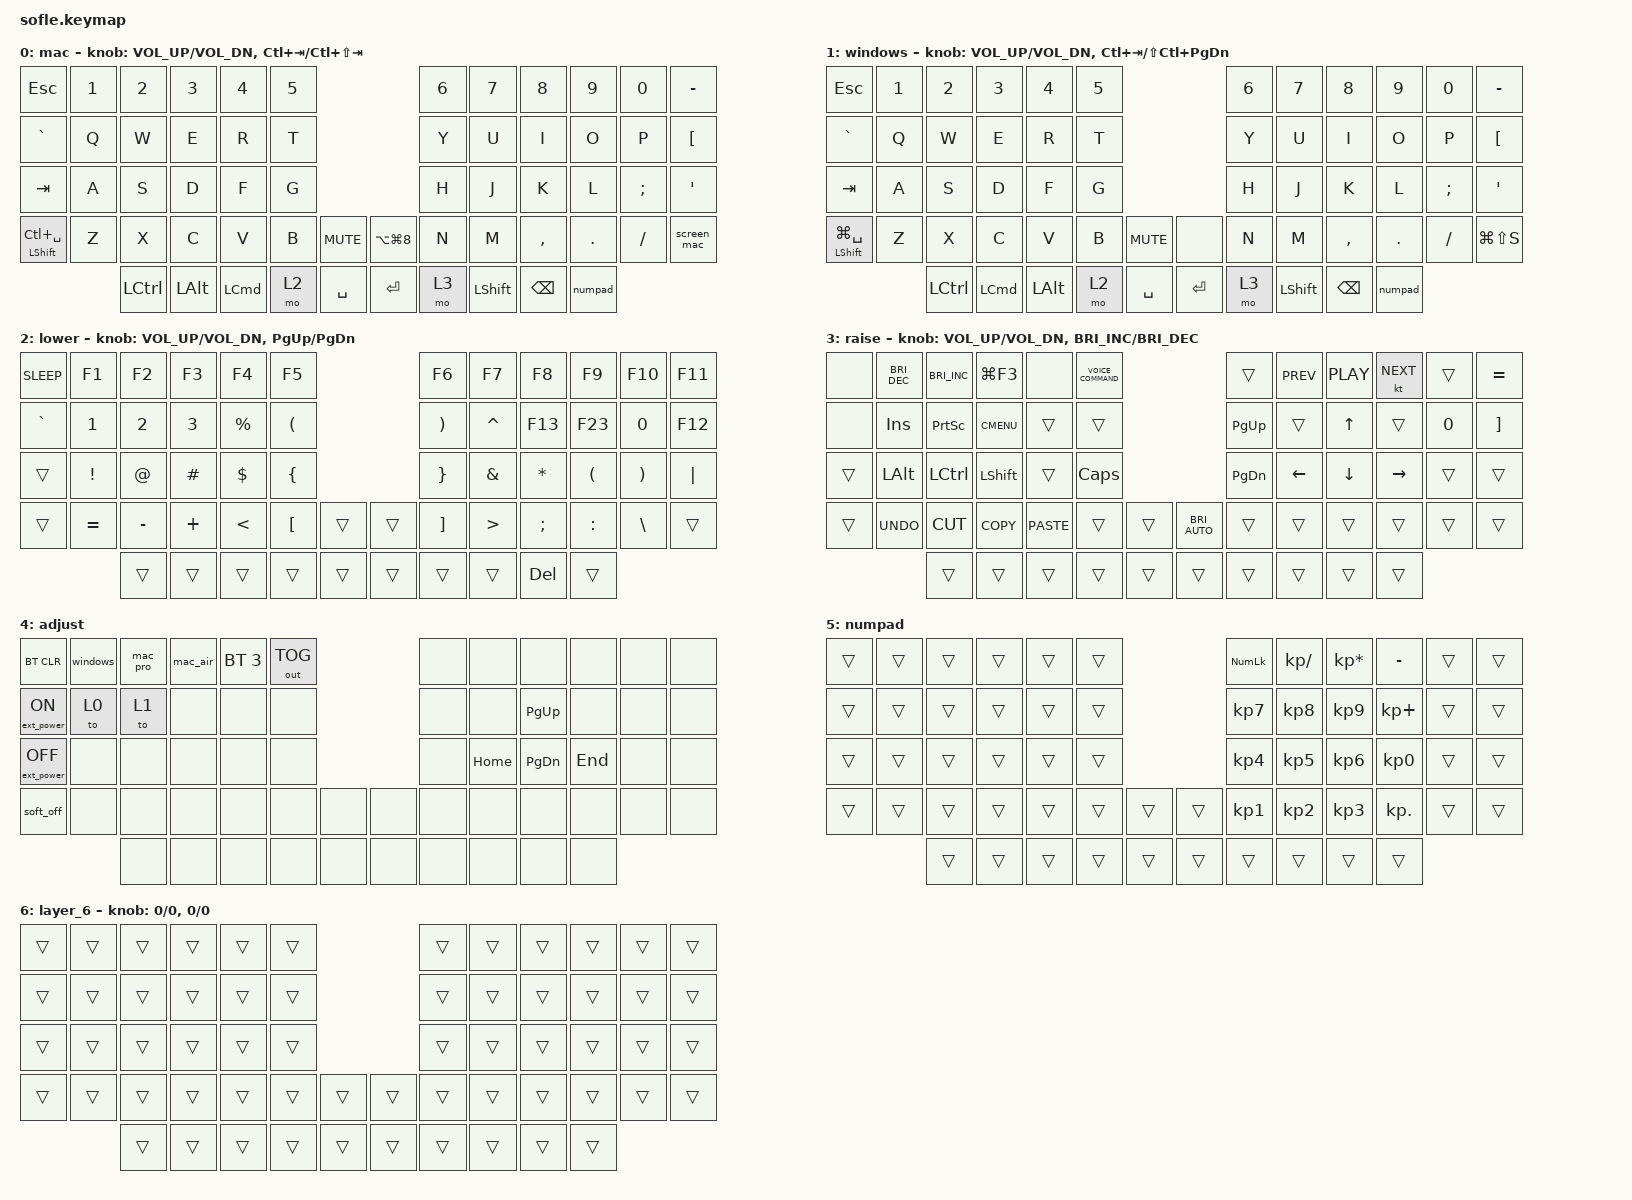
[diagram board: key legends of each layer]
/*
 * Copyright (c) 2020 The ZMK Contributors
 *
 * SPDX-License-Identifier: MIT
 */

#include <behaviors.dtsi>
#include <dt-bindings/zmk/bt.h>
#include <dt-bindings/zmk/ext_power.h>
#include <dt-bindings/zmk/keys.h>
#include <dt-bindings/zmk/outputs.h>

#define BASE 0
#define LOWER 1
#define RAISE 2
#define ADJUST 3

/ {
    // Activate ADJUST layer by pressing raise and lower

    conditional_layers {
        compatible = "zmk,conditional-layers";

        adjust_layer {
            if-layers = <2 3>;
            then-layer = <4>;
        };
    };

    behaviors {
        lang_shift: lang_shift {
            compatible = "zmk,behavior-hold-tap";
            label = "LANG_SHIFT";
            bindings = <&kp>, <&kp>;

            #binding-cells = <2>;
            tapping-term-ms = <700>;
        };

        numpad: numpad {
            compatible = "zmk,behavior-tap-dance";
            label = "NUMPAD";
            #binding-cells = <0>;
            bindings = <&none>, <&tog 5>;
        };

        screen_mac: screen_mac {
            compatible = "zmk,behavior-tap-dance";
            label = "SCREEN_MAC";
            #binding-cells = <0>;
            bindings = <&kp LS(LG(NUMBER_4))>, <&kp LG(LC(LS(NUMBER_4)))>;
        };
    };

    combos {
        compatible = "zmk,combos";

        paste {
            bindings = <&kp LC(V)>;
            key-positions = <52 40>;
            layers = <1>;
        };

        copy {
            bindings = <&kp LC(C)>;
            key-positions = <52 39>;
            layers = <1>;
        };

        cut {
            bindings = <&kp LC(X)>;
            key-positions = <52 38>;
            layers = <1>;
        };

        undo {
            bindings = <&kp LC(Z)>;
            key-positions = <52 37>;
            layers = <1>;
        };

        save {
            bindings = <&kp LC(S)>;
            key-positions = <52 26>;
            layers = <1>;
        };

        All {
            bindings = <&kp LC(S)>;
            key-positions = <52 25>;
            layers = <1>;
        };

        find {
            bindings = <&kp LC(F)>;
            key-positions = <52 28>;
            layers = <1>;
        };
    };

    macros {
        windows: new_macro {
            compatible = "zmk,behavior-macro";
            #binding-cells = <0>;
            bindings = <&bt BT_SEL 0 &to 1>;
            label = "NEW_MACRO";
        };

        mac_air: MacBookAir {
            compatible = "zmk,behavior-macro";
            #binding-cells = <0>;
            bindings = <&bt BT_SEL 2 &to 0>;
            label = "MACBOOKAIR";
        };

        mac_pro: mac_pro {
            compatible = "zmk,behavior-macro";
            #binding-cells = <0>;
            bindings = <&bt BT_SEL 1 &to 0>;
            label = "MAC_PRO";
        };
    };

    keymap {
        compatible = "zmk,keymap";

        Mac {
            display-name = "mac";

            // ------------------------------------------------------------------------------------------------------------
            // |   `   |  1  |  2  |  3   |  4   |  5   |                   |  6   |  7    |  8    |  9   |   0   |       |
            // |  ESC  |  Q  |  W  |  E   |  R   |  T   |                   |  Y   |  U    |  I    |  O   |   P   | BKSPC |
            // |  TAB  |  A  |  S  |  D   |  F   |  G   |                   |  H   |  J    |  K    |  L   |   ;   |   '   |
            // | SHIFT |  Z  |  X  |  C   |  V   |  B   |  MUTE  |  |       |  N   |  M    |  ,    |  .   |   /   | SHIFT |
            //               | GUI | ALT  | CTRL | LOWER|  ENTER |  | SPACE | RAISE| CTRL  | ALT   | GUI  |

            bindings = <
&kp ESCAPE                        &kp N1  &kp N2            &kp N3        &kp N4            &kp N5                                &kp N6  &kp N7          &kp N8         &kp N9   &kp N0    &kp MINUS
&kp GRAVE                         &kp Q   &kp W             &kp E         &kp R             &kp T                                 &kp Y   &kp U           &kp I          &kp O    &kp P     &kp LEFT_BRACKET
&kp TAB                           &kp A   &kp S             &kp D         &kp F             &kp G                                 &kp H   &kp J           &kp K          &kp L    &kp SEMI  &kp SQT
&lang_shift LEFT_SHIFT LC(SPACE)  &kp Z   &kp X             &kp C         &kp V             &kp B   &kp C_MUTE    &kp LA(LG(N8))  &kp N   &kp M           &kp COMMA      &kp DOT  &kp FSLH  &screen_mac
                                          &kp LEFT_CONTROL  &kp LEFT_ALT  &kp LEFT_COMMAND  &mo 2   &kp SPACE     &kp ENTER       &mo 3   &kp LEFT_SHIFT  &kp BACKSPACE  &numpad
            >;

            sensor-bindings =
                <&inc_dec_kp C_VOL_UP C_VOL_DN>,
                <&inc_dec_kp LC(TAB) LC(LS(TAB))>;
        };

        windows {
            display-name = "windows";
            bindings = <
&kp ESCAPE                        &kp N1  &kp N2            &kp N3            &kp N4        &kp N5                           &kp N6  &kp N7          &kp N8         &kp N9   &kp N0    &kp MINUS
&kp GRAVE                         &kp Q   &kp W             &kp E             &kp R         &kp T                            &kp Y   &kp U           &kp I          &kp O    &kp P     &kp LEFT_BRACKET
&kp TAB                           &kp A   &kp S             &kp D             &kp F         &kp G                            &kp H   &kp J           &kp K          &kp L    &kp SEMI  &kp SQT
&lang_shift LEFT_SHIFT LG(SPACE)  &kp Z   &kp X             &kp C             &kp V         &kp B   &kp C_MUTE    &none      &kp N   &kp M           &kp COMMA      &kp DOT  &kp FSLH  &kp LG(LS(S))
                                          &kp LEFT_CONTROL  &kp LEFT_COMMAND  &kp LEFT_ALT  &mo 2   &kp SPACE     &kp ENTER  &mo 3   &kp LEFT_SHIFT  &kp BACKSPACE  &numpad
            >;

            sensor-bindings =
                <&inc_dec_kp C_VOL_UP C_VOL_DN>,
                <&inc_dec_kp LC(TAB) LS(LC(PG_DN))>;
        };

        lower_layer {
            display-name = "lower";

            // TODO: Some binds are waiting for shifted keycode support.
            // ------------------------------------------------------------------------------------------------------------
            // |       |  F1 |  F2 |  F3  |  F4  |  F5  |                   |  F6  |  F7   |  F8   |  F9  |  F10  |  F11  |
            // |   `   |  1  |  2  |  3   |  4   |  5   |                   |  6   |  7    |  8    |  9   |   0   |  F12  |
            // |       |  !  |  @  |  #   |  $   |  %   |                   |  ^   |  &    |  *    |  (   |   )   |   |   |
            // |       |  =  |  -  |  +   |  {   |  }   |        |  |       |  [   |  ]    |  ;    |  :   |   \   |       |
            //               |     |      |      |      |        |  |       |      |       |       |      |

            bindings = <
&kp K_SLEEP  &kp F1     &kp F2     &kp F3    &kp F4         &kp F5                                  &kp F6                 &kp F7            &kp F8     &kp F9     &kp F10   &kp F11
&kp GRAVE    &kp N1     &kp N2     &kp N3    &kp PERCENT    &kp LEFT_PARENTHESIS                    &kp RIGHT_PARENTHESIS  &kp CARET         &kp F13    &kp F23    &kp N0    &kp F12
&trans       &kp EXCL   &kp AT     &kp HASH  &kp DLLR       &kp LEFT_BRACE                          &kp RIGHT_BRACE        &kp AMPS          &kp ASTRK  &kp LPAR   &kp RPAR  &kp PIPE
&trans       &kp EQUAL  &kp MINUS  &kp PLUS  &kp LESS_THAN  &kp LEFT_BRACKET      &trans    &trans  &kp RIGHT_BRACKET      &kp GREATER_THAN  &kp SEMI   &kp COLON  &kp BSLH  &trans
                        &trans     &trans    &trans         &trans                &trans    &trans  &trans                 &trans            &kp DEL    &trans
            >;

            sensor-bindings = <&inc_dec_kp C_VOL_UP C_VOL_DN &inc_dec_kp PG_UP PG_DN>;
        };

        raise_layer {
            display-name = "raise";

            // ------------------------------------------------------------------------------------------------------------
            // | BTCLR | BT1  | BT2  |  BT3  |  BT4  |  BT5 |                |      |      |       |      |       |       |
            // |       | INS  | PSCR | GUI   |       |      |                | PGUP |      |   ^   |      |       |       |
            // |       | ALT  | CTRL | SHIFT |       | CAPS |                | PGDN |   <- |   v   |  ->  |  DEL  | BKSPC |
            // |       | UNDO | CUT  | COPY  | PASTE |      |      |  |      |      |      |       |      |       |       |
            //                |      |       |       |      |      |  |      |      |      |       |      |

            bindings = <
&none   &kp C_BRIGHTNESS_DEC  &kp C_BRIGHTNESS_INC  &kp LG(F3)   &none        &kp C_VOICE_COMMAND                                   &trans     &kp C_PREV  &kp C_PLAY  &kt C_NEXT  &trans  &kp EQUAL
&none   &kp INS               &kp PSCRN             &kp K_CMENU  &trans       &trans                                                &kp PG_UP  &trans      &kp UP      &trans      &kp N0  &kp RIGHT_BRACKET
&trans  &kp LALT              &kp LCTRL             &kp LSHFT    &trans       &kp CLCK                                              &kp PG_DN  &kp LEFT    &kp DOWN    &kp RIGHT   &trans  &trans
&trans  &kp K_UNDO            &kp K_CUT             &kp K_COPY   &kp K_PASTE  &trans               &trans    &kp C_BRIGHTNESS_AUTO  &trans     &trans      &trans      &trans      &trans  &trans
                              &trans                &trans       &trans       &trans               &trans    &trans                 &trans     &trans      &trans      &trans
            >;

            sensor-bindings =
                <&inc_dec_kp C_VOL_UP C_VOL_DN>,
                <&inc_dec_kp C_BRIGHTNESS_INC C_BRIGHTNESS_DEC>;
        };

        adjust_layer {
            // ----------------------------------------------------------------------------------------------------------------------------
            // | BTCLR  |  BT1    |  BT2    |   BT3   |   BT4   |   BT5   |                  |      |      |       |      |       |       |
            // | EXTPWR | RGB_HUD | RGB_HUI | RGB_SAD | RGB_SAI | RGB_EFF |                  |      |      |       |      |       |       |
            // |        | RGB_BRD | RGB_BRI |         |         |         |                  |      |      |       |      |       |       |
            // |        |         |         |         |         |         | RGB_TOG | |      |      |      |       |      |       |       |
            //                    |         |         |         |         |         | |      |      |      |       |      |

            display-name = "adjust";
            bindings = <
&bt BT_CLR         &windows  &mac_pro  &mac_air  &bt BT_SEL 3  &out OUT_TOG                  &none  &none     &none          &none    &none  &none
&ext_power EP_ON   &to 0     &to 1     &none     &none         &none                         &none  &none     &kp PAGE_UP    &none    &none  &none
&ext_power EP_OFF  &none     &none     &none     &none         &none                         &none  &kp HOME  &kp PAGE_DOWN  &kp END  &none  &none
&soft_off          &none     &none     &none     &none         &none         &none    &none  &none  &none     &none          &none    &none  &none
                             &none     &none     &none         &none         &none    &none  &none  &none     &none          &none
            >;
        };

        numpad {
            bindings = <
&trans  &trans  &trans  &trans  &trans  &trans                    &kp KP_NUMLOCK   &kp KP_DIVIDE    &kp KP_MULTIPLY  &kp MINUS    &trans  &trans
&trans  &trans  &trans  &trans  &trans  &trans                    &kp KP_N7        &kp KP_N8        &kp KP_N9        &kp KP_PLUS  &trans  &trans
&trans  &trans  &trans  &trans  &trans  &trans                    &kp KP_N4        &kp KP_N5        &kp KP_N6        &kp KP_N0    &trans  &trans
&trans  &trans  &trans  &trans  &trans  &trans  &trans    &trans  &kp KP_NUMBER_1  &kp KP_NUMBER_2  &kp KP_N3        &kp KP_DOT   &trans  &trans
                &trans  &trans  &trans  &trans  &trans    &trans  &trans           &trans           &trans           &trans
            >;

            label = "numpad";
        };

        layer_6 {
            bindings = <
&trans  &trans  &trans  &trans  &trans  &trans                    &trans  &trans  &trans  &trans  &trans  &trans
&trans  &trans  &trans  &trans  &trans  &trans                    &trans  &trans  &trans  &trans  &trans  &trans
&trans  &trans  &trans  &trans  &trans  &trans                    &trans  &trans  &trans  &trans  &trans  &trans
&trans  &trans  &trans  &trans  &trans  &trans  &trans    &trans  &trans  &trans  &trans  &trans  &trans  &trans
                &trans  &trans  &trans  &trans  &trans    &trans  &trans  &trans  &trans  &trans
            >;

            sensor-bindings = <&inc_dec_kp 0 0>, <&inc_dec_kp 0 0>;
        };
    };
};
